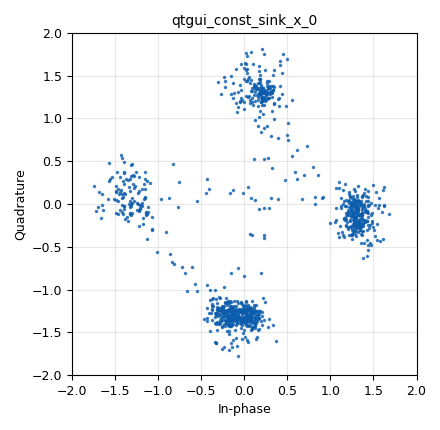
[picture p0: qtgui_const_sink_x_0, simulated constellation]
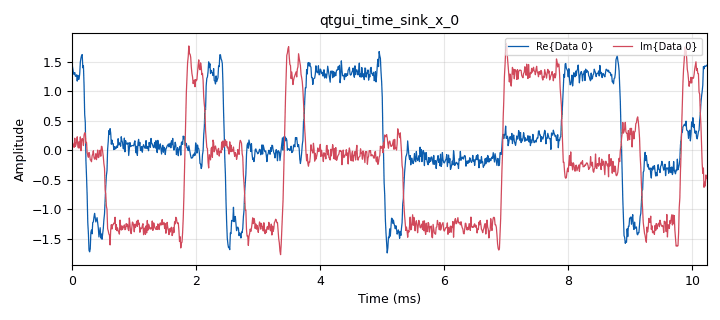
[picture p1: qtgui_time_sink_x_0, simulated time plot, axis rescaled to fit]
options:
  parameters:
    author: Ronny Milléo
    generate_options: qt_gui
    id: qpsk_transmitter
    output_language: python
    title: QPSK Transmitter
  states: {}

blocks:
- name: BPSK
  id: variable_constellation
  parameters:
    const_points: '[-1, 1]'
    precision: '8'
    sym_map: '[0, 1]'
    type: bpsk
  states: {}
- name: QAM16
  id: variable_constellation
  parameters:
    const_points: '[(-3-3j), (-1-3j), (1-3j), (3-3j), (-3-1j), (-1-1j), (1-1j), (3-1j), (-3+1j), (-1+1j), (1+1j), (3+1j), (-3+3j), (-1+3j), (1+3j), (3+3j)]'
    precision: '8'
    sym_map: '[0, 4, 12, 8, 1, 5, 13, 9, 3, 7, 15, 11, 2, 6, 14, 10]'
    type: 16qam
  states: {}
- name: QPSK
  id: variable_constellation
  parameters:
    precision: '8'
    type: qpsk
  states: {}
- name: delays
  id: variable
  parameters:
    value: '[0.0, 0.9, 1.7]'
  states: {}
- name: fD
  id: variable
  parameters:
    value: '1'
  states: {}
- name: mags
  id: variable
  parameters:
    value: '[1, 0.8, 0.3]'
  states: {}
- name: samp_rate
  id: variable
  parameters:
    value: '100000'
  states: {}
- name: snr
  id: variable
  parameters:
    value: '10'
  states: {}
- name: analog_random_source_x_0
  id: analog_random_source_x
  parameters:
    max: '2'
    min: '0'
    num_samps: '1024000'
    repeat: 'False'
    type: byte
  states: {}
- name: blocks_file_sink_0
  id: blocks_file_sink
  parameters:
    file: /home/gics-administrador/Documentos/qpsk
    type: complex
  states: {}
- name: blocks_throttle_0
  id: blocks_throttle
  parameters:
    samples_per_second: samp_rate
    type: complex
  states: {}
- name: channels_dynamic_channel_model_1
  id: channels_dynamic_channel_model
  parameters:
    LOS: 'False'
    N: '8'
    cfo_maxdev: 0.5e3
    cfo_stdev: '0.01'
    delays: delays
    fD: fD
    mags: mags
    noise_amp: 10**(-snr/10.0)
    ntaps: '8'
    samp_rate: samp_rate
    seed: '0'
    sro_maxdev: 0.5e3
    sro_stdev: '0.01'
  states: {}
- name: digital_constellation_modulator_0
  id: digital_constellation_modulator
  parameters:
    constellation: QPSK
    differential: 'True'
    excess_bw: '0.35'
    samples_per_symbol: '8'
  states: {}
- name: qtgui_const_sink_x_0
  id: qtgui_const_sink_x
  parameters:
    size: '1024'
    type: complex
  states: {}
- name: qtgui_time_sink_x_0
  id: qtgui_time_sink_x
  parameters:
    size: '1024'
    srate: samp_rate
    type: complex
    ymax: '1.2'
    ymin: '-1.2'
  states: {}

connections:
- [analog_random_source_x_0, '0', digital_constellation_modulator_0, '0']
- [blocks_throttle_0, '0', blocks_file_sink_0, '0']
- [blocks_throttle_0, '0', qtgui_const_sink_x_0, '0']
- [blocks_throttle_0, '0', qtgui_time_sink_x_0, '0']
- [channels_dynamic_channel_model_1, '0', blocks_throttle_0, '0']
- [digital_constellation_modulator_0, '0', channels_dynamic_channel_model_1, '0']

metadata:
  file_format: 1
